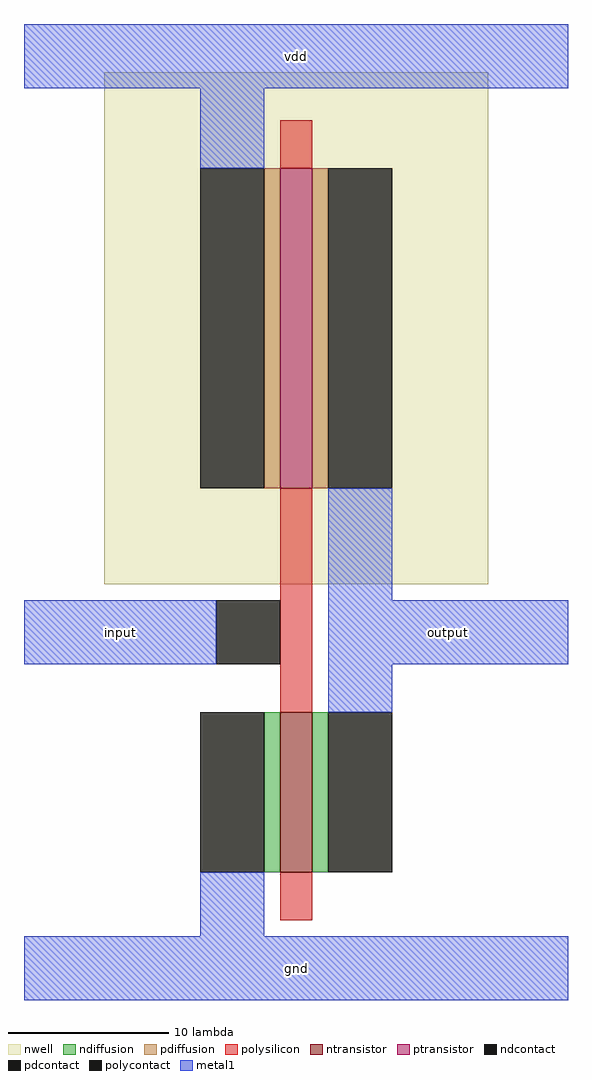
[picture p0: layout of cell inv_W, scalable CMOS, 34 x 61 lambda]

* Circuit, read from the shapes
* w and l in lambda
.subckt inv_W gnd input output vdd
M1 output input gnd VSUBS nfet w=10 l=2
M2 output input vdd n1 pfet w=20 l=2
.ends

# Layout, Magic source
magic
tech scmos
<< nwell >>
rect -10 -4 14 28
<< ntransistor >>
rect 1 -22 3 -12
<< ptransistor >>
rect 1 2 3 22
<< ndiffusion >>
rect 0 -22 1 -12
rect 3 -22 4 -12
<< pdiffusion >>
rect 0 2 1 22
rect 3 2 4 22
<< ndcontact >>
rect -4 -22 0 -12
rect 4 -22 8 -12
<< pdcontact >>
rect -4 2 0 22
rect 4 2 8 22
<< polysilicon >>
rect 1 22 3 25
rect 1 -12 3 2
rect 1 -25 3 -22
<< polycontact >>
rect -3 -9 1 -5
<< metal1 >>
rect -15 27 19 31
rect -4 22 0 27
rect 4 -5 8 2
rect -15 -9 -3 -5
rect 4 -9 19 -5
rect 4 -12 8 -9
rect -4 -26 0 -22
rect -15 -30 19 -26
<< labels >>
rlabel metal1 -15 27 19 31 5 vdd
rlabel metal1 -15 -30 19 -26 1 gnd
rlabel metal1 -15 -9 -3 -5 1 input
rlabel metal1 4 -9 19 -5 1 output
<< end >>
